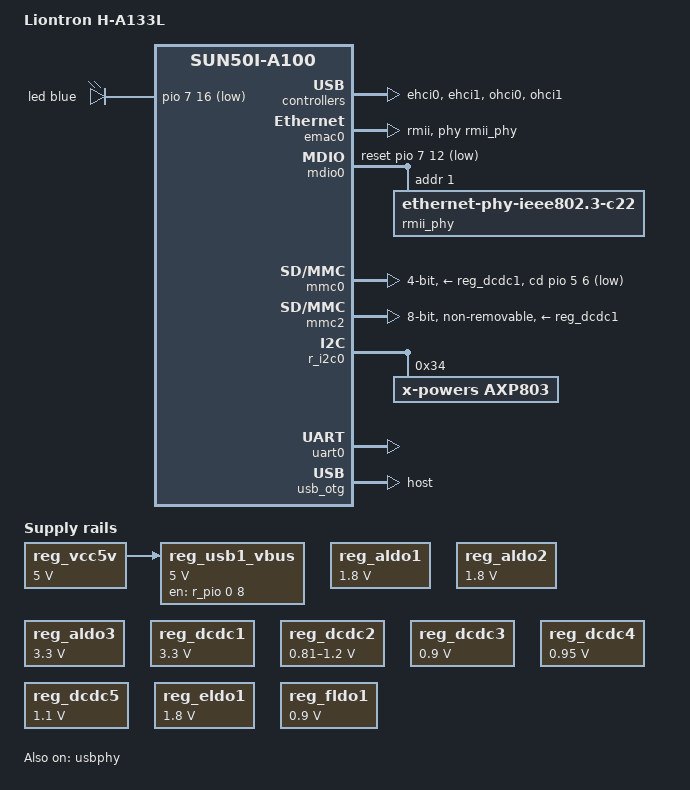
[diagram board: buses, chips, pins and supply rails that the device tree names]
// SPDX-License-Identifier: (GPL-2.0+ OR MIT)
/*
 * Copyright (c) 2025 Arm Ltd.
 */

/dts-v1/;

#include "sun50i-a100.dtsi"
#include "sun50i-a100-cpu-opp.dtsi"

#include <dt-bindings/gpio/gpio.h>
#include <dt-bindings/leds/common.h>

/{
	model = "Liontron H-A133L";
	compatible = "liontron,h-a133l", "allwinner,sun50i-a100";

	aliases {
		serial0 = &uart0;
	};

	chosen {
		stdout-path = "serial0:115200n8";
	};

	leds {
		compatible = "gpio-leds";

		led {
			function = LED_FUNCTION_POWER;
			color = <LED_COLOR_ID_BLUE>;
			gpios = <&pio 7 16 GPIO_ACTIVE_LOW>; /* PH16 */
		};
	};

	reg_vcc5v: vcc5v {
		/* board wide 5V supply from a 12V->5V regulator */
		compatible = "regulator-fixed";
		regulator-name = "vcc-5v";
		regulator-min-microvolt = <5000000>;
		regulator-max-microvolt = <5000000>;
		regulator-always-on;
	};

	reg_usb1_vbus: regulator-usb1-vbus {
		compatible = "regulator-fixed";
		regulator-name = "usb1-vbus";
		regulator-min-microvolt = <5000000>;
		regulator-max-microvolt = <5000000>;
		vin-supply = <&reg_vcc5v>;
		enable-active-high;
		gpio = <&r_pio 0 8 GPIO_ACTIVE_HIGH>; /* PL8 */
	};
};

&cpu0 {
	cpu-supply = <&reg_dcdc2>;
};

&ehci0 {
	status = "okay";
};

&ehci1 {
	status = "okay";
};

&emac0 {
	pinctrl-names = "default";
	pinctrl-0 = <&rmii0_pins>;
	phy-handle = <&rmii_phy>;
	phy-mode = "rmii";
	status = "okay";
};

&mdio0 {
	reset-gpios = <&pio 7 12 GPIO_ACTIVE_LOW>; /* PH12 */
	reset-delay-us = <2000>;
	reset-post-delay-us = <2000>;

	rmii_phy: ethernet-phy@1 {
		compatible = "ethernet-phy-ieee802.3-c22";
		reg = <1>;
	};
};

&mmc0 {
	vmmc-supply = <&reg_dcdc1>;
	cd-gpios = <&pio 5 6 GPIO_ACTIVE_LOW>; /* PF6 */
	bus-width = <4>;
	status = "okay";
};

&mmc2 {
	vmmc-supply = <&reg_dcdc1>;
	vqmmc-supply = <&reg_eldo1>;
	cap-mmc-hw-reset;
	non-removable;
	bus-width = <8>;
	mmc-ddr-1_8v;
	mmc-hs200-1_8v;
	status = "okay";
};

&ohci0 {
	status = "okay";
};

&ohci1 {
	status = "okay";
};

&pio {
	vcc-pb-supply = <&reg_dcdc1>;
	vcc-pc-supply = <&reg_eldo1>;
	vcc-pf-supply = <&reg_dcdc1>;
	vcc-ph-supply = <&reg_dcdc1>;
};

&r_i2c0 {
	status = "okay";

	axp803: pmic@34 {
		compatible = "x-powers,axp803";
		reg = <0x34>;
		interrupt-parent = <&r_intc>;
		interrupts = <0 IRQ_TYPE_LEVEL_LOW>;
	};
};

#include "axp803.dtsi"

&ac_power_supply {
	status = "okay";
};

&reg_aldo1 {
	regulator-always-on;
	regulator-min-microvolt = <1800000>;
	regulator-max-microvolt = <1800000>;
	regulator-name = "vcc-codec-avcc";
};

&reg_aldo2 {
	regulator-always-on;
	regulator-min-microvolt = <1800000>;
	regulator-max-microvolt = <1800000>;
	regulator-name = "vcc-dram-1";
};

&reg_aldo3 {
	regulator-always-on;
	regulator-min-microvolt = <3300000>;
	regulator-max-microvolt = <3300000>;
	regulator-name = "vcc-usb-pl";
};

&reg_dcdc1 {
	regulator-always-on;
	regulator-min-microvolt = <3300000>;
	regulator-max-microvolt = <3300000>;
	regulator-name = "vcc-io-usb-pd-emmc";
};

&reg_dcdc2 {
	regulator-always-on;
	regulator-min-microvolt = <810000>;
	regulator-max-microvolt = <1200000>;
	regulator-name = "vdd-cpux";
};

&reg_dcdc3 {
	regulator-always-on;
	regulator-min-microvolt = <900000>;
	regulator-max-microvolt = <900000>;
	regulator-name = "vdd-usb-cpus";
};

&reg_dcdc4 {
	regulator-always-on;
	regulator-min-microvolt = <950000>;
	regulator-max-microvolt = <950000>;
	regulator-name = "vdd-sys";
};

&reg_dcdc5 {
	regulator-always-on;
	regulator-min-microvolt = <1100000>;
	regulator-max-microvolt = <1100000>;
	regulator-name = "vcc-dram";
};

/* DCDC6 unused */
/* DLDO3 unused */
/* DLDO4 unused */

&reg_eldo1 {
	regulator-min-microvolt = <1800000>;
	regulator-max-microvolt = <1800000>;
	regulator-name = "vcc-pc-emmc";
};

/* ELDO2 unused */
/* ELDO3 unused */

&reg_fldo1 {
	regulator-always-on;
	regulator-min-microvolt = <900000>;
	regulator-max-microvolt = <900000>;
	regulator-name = "vdd-cpus-usb";
};

/* reg_drivevbus unused */
/* dc1sw unused */

&uart0 {
	pinctrl-names = "default";
	pinctrl-0 = <&uart0_pb_pins>;
	status = "okay";
};

&usb_otg {
	dr_mode = "host";       /* USB A type receptacle, always powered */
	status = "okay";
};

&usbphy {
	usb1_vbus-supply = <&reg_usb1_vbus>;
	status = "okay";
};
